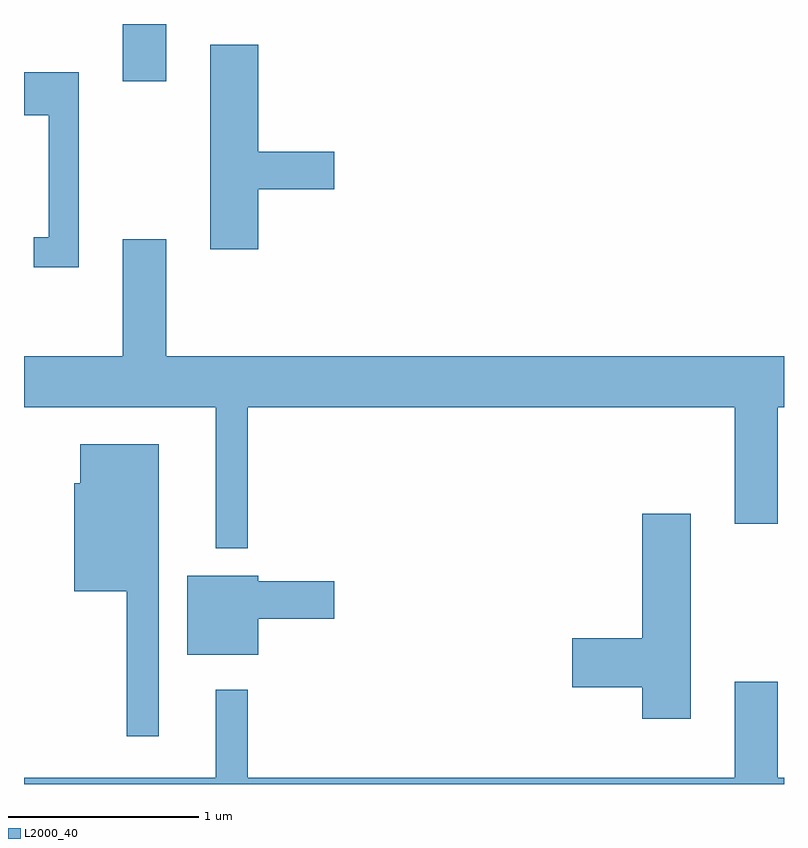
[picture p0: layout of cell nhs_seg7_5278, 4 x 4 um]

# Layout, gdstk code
import gdstk
lib = gdstk.Library(unit=1e-6, precision=1e-09)
def R(c, l, rs):  # rectangles x0, y0, x1, y1
    for r in rs: c.add(gdstk.rectangle(r[:2], r[2:], *l))
def P(c, l, *ps):  # polygons
    for p in ps: c.add(gdstk.Polygon(p, *l))
L2000_40 = (2000, 40)

nhs_seg7_5278 = lib.new_cell('nhs_seg7_5278')
R(nhs_seg7_5278, L2000_40, [(346.131,1795.951,346.359,1796.252)])
P(nhs_seg7_5278, L2000_40, [(346.844,1795.381),(347.244,1795.381),(347.244,1795.579),(346.844,1795.579),(346.844,1796.144),(346.591,1796.144),(346.591,1795.066),(346.844,1795.066)],
  [(345.899,1795.999),(345.611,1795.999),(345.611,1795.771),(345.741,1795.771),(345.741,1795.129),(345.663,1795.129),(345.663,1794.971),(345.899,1794.971)],
  [(346.359,1795.119),(346.131,1795.119),(346.131,1794.504),(345.611,1794.504),(345.611,1794.236),(346.621,1794.236),(346.621,1793.493),(346.789,1793.493),(346.789,1794.236),(349.351,1794.236),(349.351,1793.621),(349.579,1793.621),(349.579,1794.236),(349.611,1794.236),(349.611,1794.504),(346.359,1794.504)],
  [(346.319,1794.039),(345.906,1794.039),(345.906,1793.834),(345.876,1793.834),(345.876,1793.266),(346.151,1793.266),(346.151,1792.503),(346.319,1792.503)],
  [(349.119,1793.674),(348.866,1793.674),(348.866,1793.019),(348.496,1793.019),(348.496,1792.761),(348.866,1792.761),(348.866,1792.596),(349.119,1792.596)],
  [(346.844,1793.121),(347.244,1793.121),(347.244,1793.319),(346.844,1793.319),(346.844,1793.349),(346.471,1793.349),(346.471,1792.931),(346.844,1792.931)],
  [(349.611,1792.284),(349.579,1792.284),(349.579,1792.789),(349.351,1792.789),(349.351,1792.284),(346.789,1792.284),(346.789,1792.748),(346.621,1792.748),(346.621,1792.284),(345.611,1792.284),(345.611,1792.252),(349.611,1792.252)])

lib.write_gds('nhs_seg7_5278.gds')
